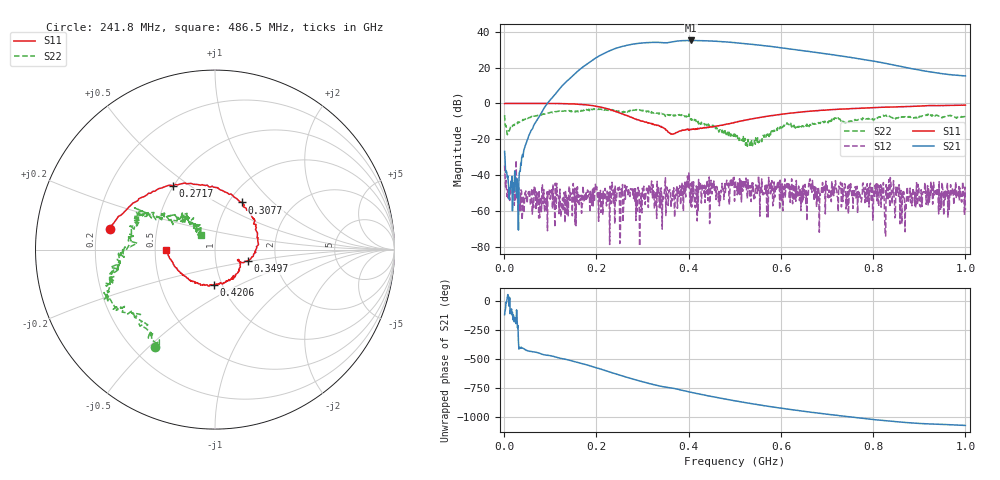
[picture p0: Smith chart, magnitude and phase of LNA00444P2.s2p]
! Created with skrf 1.9.0 (http://scikit-rf.org).
# Hz S RI R 50.0
!freq ReS11 ImS11 ReS21 ImS21 ReS12 ImS12 ReS22 ImS22
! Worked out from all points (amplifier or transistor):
!   1001 points, 1 MHz to 1 GHz, reference 50 ohm
!   highest |S21| = 35.1 dB at 404.6 MHz (marker M1)
!   |S21| within 3 dB of that: 261.8 MHz to 566.2 MHz (304.4 MHz wide, 73.5 % of centre) (the widest 1 of 2)
!   unconditionally stable (mu >= 1): 240.9 MHz to 319.6 MHz; 319.9 MHz to 400.3 MHz; 401 MHz to end of sweep (the widest 3 of 41)
!   at 166.8 MHz: K = 0.85, MSG = 35.3 dB, |S12| = -51.2 dB
!   at 500.5 MHz: K = 1.71, MAG = 34.6 dB, |S12| = -45.0 dB
!   at 1 GHz: K = 13.07, MAG = 23.2 dB, |S12| = -59.4 dB
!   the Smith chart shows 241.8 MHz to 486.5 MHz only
!   S11 on the Smith chart (normalised r, x): 241.8 MHz: 0.26, +0.09; 271.7 MHz: 0.50, +0.43; 307.7 MHz: 1.15, +0.67; 349.7 MHz: 1.44, -0.19; 420.6 MHz: 0.92, -0.37; 486.5 MHz: 0.57, -0.00
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1000000  0.9858 0.00191  -0.0187 -0.0419  -0.0182 0.00437  0.3509 0.3151
1.08892e8  0.527 -0.8444  -0.7918 -1.508  -0.00174 -0.00164  0.4255 -0.3847
1.67833e8  -0.2221 -0.9051  -9.709 -0.596  -0.000241 0.000833  0.0337 -0.6333
2.09791e8  -0.6736 -0.4067  -15.56 16.16  -0.000546 0.00073  -0.2066 -0.6581
2.41759e8  -0.5828 0.1168  -1.889 34.21  0.000974 -0.002  -0.3364 -0.54
2.71729e8  -0.2334 0.3555  23.88 36.01  -0.00195 -0.00183  -0.5046 -0.3167
2.88712e8  -0.0239 0.3488  37.46 28.49  -0.000972 -0.000204  -0.6068 -0.2514
3.07693e8  0.1512 0.2627  47.35 14.42  -0.00238 0.00257  -0.5793 -0.1579
3.34666e8  0.2424 0.0286  49.47 -8.931  -0.000588 0.00488  -0.5059 -0.0428
3.49651e8  0.1854 -0.064  45.73 -18.13  -0.00706 0.00457  -0.433 0.0359
3.75625e8  0.138 -0.0746  42.12 -35.32  -0.000743 0.00093  -0.427 0.1843
4.04596e8  0.0734 -0.1725  22.77 -52.2  -9.69e-05 0.00137  -0.3258 0.1855
4.2058e8  -0.00516 -0.1966  9.639 -55.7  -6.3e-05 0.000975  -0.2552 0.1883
4.5055e8  -0.1565 -0.1579  -13.06 -53.51  0.0021 0.00214  -0.1552 0.1869
4.86514e8  -0.2709 -0.00155  -33.29 -38.86  0.00652 -0.00137  -0.0786 0.0832
5.005e8  -0.2877 0.0702  -38.59 -31.34  -0.00225 0.00513  -0.0928 0.1012
5.4046e8  -0.2433 0.2886  -42.91 -9.298  0.00222 -0.00184  -0.0759 -0.0102
5.88412e8  -0.0611 0.4693  -35.53 11.39  2.64e-05 -0.0053  -0.1601 -0.0912
6.67333e8  0.3046 0.5314  -13.33 23.67  -0.00028 -0.00332  -0.2646 -0.0532
7.53247e8  0.6093 0.3795  3.868 18.51  0.00182 -0.0024  -0.3211 0.0276
8.34166e8  0.7738 0.1577  9.011 8.719  0.00747 0.000455  -0.4249 0.1001
1e9  0.8169 -0.3737  5.829 0.6022  -0.000216 -0.00105  -0.1904 0.3721
